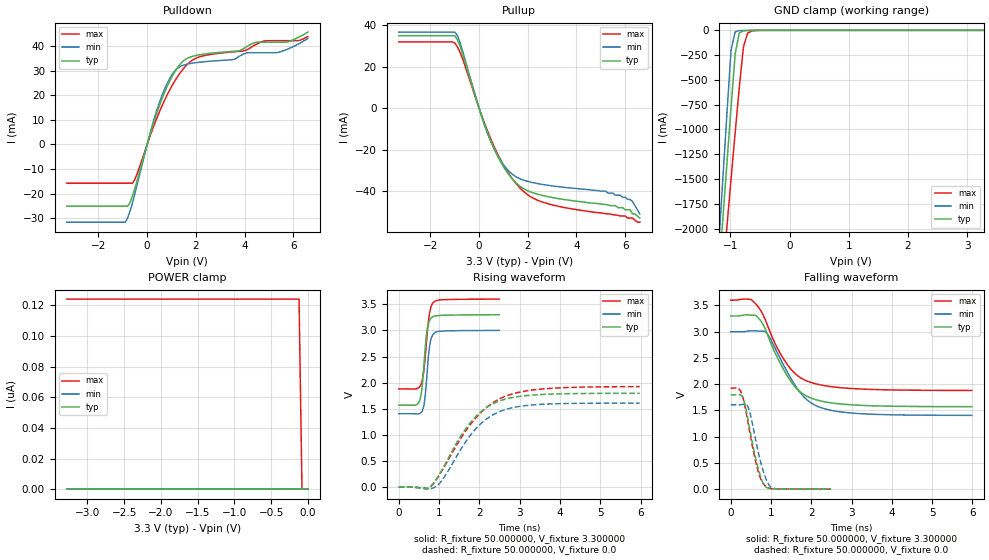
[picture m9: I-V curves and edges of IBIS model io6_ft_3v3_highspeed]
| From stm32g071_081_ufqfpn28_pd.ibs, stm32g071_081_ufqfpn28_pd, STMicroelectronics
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|   Model io6_ft_3v3_highspeed
[Model]  io6_ft_3v3_highspeed
Model_type I/O
Polarity   Non-Inverting
Enable   Active-Low
Vinl =   0.990000V
Vinh =   2.310000V
Vmeas =  1.650000V
Cref =   40.000000pF
Rref =   100.000000M
Vref =   0.0V
C_comp   1.290400pF   1.272500pF   1.305600pF
[Temperature Range]   25.000000   -40.000000   0.125000k
[Pullup Reference]   3.300000V   3.000000V   3.600000V
[Pulldown Reference]   0.0V   0.0V   0.0V
[POWER Clamp Reference]   3.300000V   3.000000V   3.600000V
[GND Clamp Reference]   0.0V   0.0V   0.0V
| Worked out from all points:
|   slope of the pulldown table from 0 to 0.495 V, typ, clamps not added: 31.8 ohm
|   slope of the pullup table from 0 to 0.495 V, typ, clamps not added: 30.4 ohm
|   GND clamp passes 1 mA (typ) near -0.65 V on its own axis
|   rising waveform, R_fixture 50.000000, V_fixture 3.300000: 20-80 % time 115ps typ, 110ps min, 130ps max; typ from 1.57 V to 3.3 V
|   rising waveform, R_fixture 50.000000, V_fixture 0.0: 20-80 % time 936ps typ, 913ps min, 1.08ns max; typ from 0 V to 1.8 V
|   falling waveform, R_fixture 50.000000, V_fixture 3.300000: 20-80 % time 728ps typ, 758ps min, 727ps max; typ from 3.3 V to 1.57 V
|   falling waveform, R_fixture 50.000000, V_fixture 0.0: 20-80 % time 292ps typ, 290ps min, 303ps max; typ from 1.8 V to 0 V
[Pulldown]
|Voltage   I(typ)   I(min)   I(max)
-3.3V     -25.03mA   -31.54mA   -15.7mA
-900mV    -25.03mA   -31.54mA   -15.7mA
-700mV    -23.48mA   -26.96mA   -15.7mA
-500mV    -17.69mA   -19.75mA   -14.07mA
100mV     3.479mA    3.853mA    2.862mA
500mV     15.71mA    16.96mA    13.17mA
900mV     25.22mA    26.33mA    21.66mA
1.3V      31.91mA    31.32mA    28.29mA
2.2V      36.48mA    33.43mA    35.69mA
4.1V      39.78mA    37.21mA    38.43mA
5.4V      41.49mA    37.39mA    42.12mA
6.6V      45.6mA     43.04mA    43.74mA
[Pullup]
|Voltage   I(typ)   I(min)   I(max)
-3.3V     34.95mA    36.68mA    31.96mA
-1V       34.95mA    36.68mA    31.47mA
-800mV    30.49mA    32.27mA    27.39mA
100mV     -3.672mA   -3.825mA   -3.371mA
500mV     -16.4mA    -16.57mA   -15.42mA
1.1V      -30.05mA   -28.81mA   -29.38mA
1.7V      -37.83mA   -34.15mA   -38.73mA
2.9V      -42.88mA   -37.32mA   -46.32mA
5.8V      -48mA      -42mA      -52mA
6.2V      -49mA      -44mA      -53mA
6.3V      -51mA      -45mA      -53mA
6.6V      -53mA      -51mA      -55mA
[GND_clamp]
|Voltage   I(typ)   I(min)   I(max)
-3.3V     -9.61A     -9.635A    -9.699A
-1.2V     -2.493A    -2.184A    -2.958A
-1.13V    -1.917A    -1.512A    -2.469A
-1.06V    -1.345A    -845.6mA   -1.983A
-990mV    -779.8mA   -200.2mA   -1.503A
-920mV    -235.5mA   -14.18mA   -1.03A
-850mV    -26.06mA   -3.338mA   -574.2mA
-780mV    -4.499mA   -1.808mA   -166.4mA
-710mV    -1.722mA   -869.6uA   -29.45mA
-640mV    -806.7uA   -283.7uA   -6.281mA
3.28V     0A         0A         0A
[POWER_clamp]
|Voltage   I(typ)   I(min)   I(max)
-3.28V    0A         0A         124nA
-120mV    0A         0A         124nA
-80mV     0A         0A         0A
0V        0A         0A         0A
[Ramp]
| variable   typ   min   max
dV/dt_r  1.07592/0.93250n   0.96282/0.90949n   1.14966/1.06847n
dV/dt_f  1.03512/0.72488n   0.95562/0.75457n   1.02918/0.72363n
R_load = 50.000000
[Rising Waveform]
R_fixture= 50.000000
V_fixture= 3.300000
V_fixture_min= 3.000000
V_fixture_max= 3.600000
|time   V(typ)   V(min)   V(max)
0s        1.571V     1.406V     1.88V
445.4ps   1.58V      1.402V     1.884V
555.6ps   1.777V     1.428V     1.975V
590.6ps   2.005V     1.472V     2.074V
630.6ps   2.387V     1.595V     2.293V
695.7ps   2.963V     2.105V     2.845V
750.8ps   3.163V     2.611V     3.261V
810.8ps   3.242V     2.857V     3.47V
1.021ns   3.287V     2.984V     3.583V
2.492ns   3.3V       3V         3.6V
[Rising Waveform]
R_fixture= 50.000000
V_fixture= 0.0
V_fixture_min= 0.0
V_fixture_max= 0.0
|time   V(typ)   V(min)   V(max)
0s        2.304uV    -3.367uV   25.37uV
780.8ps   8.739mV    -33.79mV   3.084mV
1.081ns   341.5mV    137.1mV    325.8mV
1.465ns   885.8mV    628.7mV    839.8mV
1.766ns   1.223V     981.5mV    1.187V
2.126ns   1.496V     1.273V     1.49V
2.486ns   1.645V     1.44V      1.684V
3.039ns   1.741V     1.55V      1.825V
3.628ns   1.776V     1.589V     1.884V
5.982ns   1.796V     1.608V     1.924V
[Falling Waveform]
R_fixture= 50.000000
V_fixture= 3.300000
V_fixture_min= 3.000000
V_fixture_max= 3.600000
|time   V(typ)   V(min)   V(max)
0s        3.3V       3V         3.6V
504.5ps   3.317V     3.017V     3.613V
660.7ps   3.285V     3.014V     3.496V
864.9ps   3.04V      2.995V     3.216V
1.129ns   2.555V     2.644V     2.733V
1.393ns   2.173V     2.249V     2.388V
1.634ns   1.92V      1.938V     2.179V
1.922ns   1.759V     1.685V     2.053V
2.943ns   1.61V      1.454V     1.921V
5.982ns   1.571V     1.406V     1.88V
[Falling Waveform]
R_fixture= 50.000000
V_fixture= 0.0
V_fixture_min= 0.0
V_fixture_max= 0.0
|time   V(typ)   V(min)   V(max)
0s        1.796V     1.608V     1.924V
245.2ps   1.795V     1.609V     1.869V
330.3ps   1.681V     1.617V     1.662V
430.4ps   1.33V      1.565V     1.268V
500.5ps   1.039V     1.388V     974.8mV
665.7ps   447mV      773.9mV    387.3mV
750.8ps   221.8mV    500mV      186.6mV
860.9ps   51.5mV     229.4mV    59.58mV
1.071ns   5.771mV    15.88mV    6.946mV
2.492ns   2.304uV    -3.367uV   25.37uV
